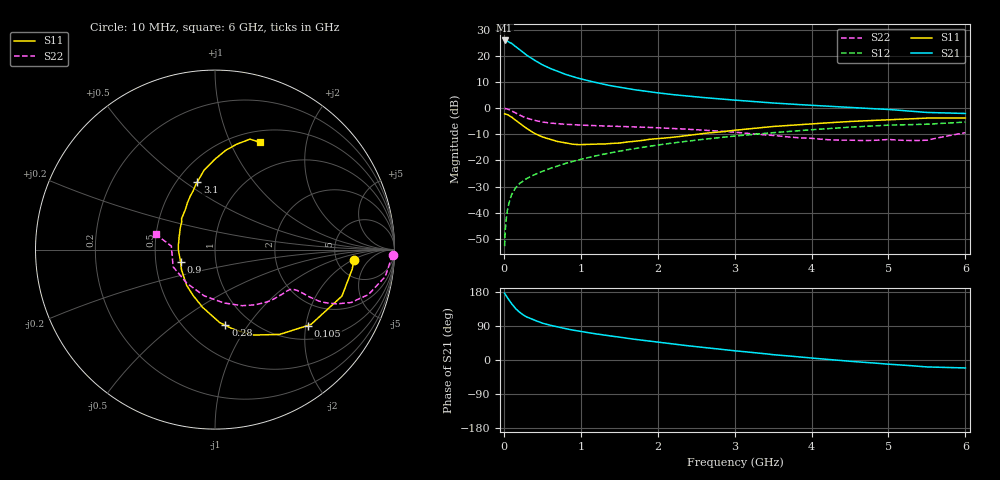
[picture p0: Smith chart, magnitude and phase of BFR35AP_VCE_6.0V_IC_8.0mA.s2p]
! Infineon Technologies  Discrete & RF Semiconductors
! BFR35AP
! VCE =  6.0 V,  IC =  8.0 mA
! Common Emitter S-Parameters:  Nov 2015
# GHz  S  MA  R  50
!  f  S11  S21  S12  S22
! GHz  MAG  ANG  MAG  ANG  MAG  ANG  MAG  ANG
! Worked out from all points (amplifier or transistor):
!   210 points, 10 MHz to 6 GHz, reference 50 ohm
!   highest |S21| = 25.9 dB at 10 MHz (marker M1)
!   |S21| within 3 dB of that: start of sweep to 182.7 MHz
!   unconditionally stable (mu >= 1): 681.6 MHz to 3.001 GHz
!   at 185 MHz: K = 0.48, MSG = 26.1 dB, |S12| = -29.4 dB
!   at 1.52 GHz: K = 1.10, MAG = 10.2 dB, |S12| = -16.4 dB
!   at 6 GHz: K = 0.91, MSG = 1.6 dB, |S12| = -5.3 dB
!   S11 on the Smith chart (normalised r, x): 10 MHz: 7.35, -2.05; 105 MHz: 1.34, -2.05; 280 MHz: 0.77, -0.79; 900 MHz: 0.67, -0.10; 3.1 GHz: 0.63, +0.56; 6 GHz: 0.63, +1.30
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0.01  0.776 -4.1  19.66 176.2  0.0023 87.7  0.9898 -1.7
0.025  0.7669 -10.0  19.23 171.1  0.0061 82.5  0.9758 -4.6
0.05  0.7533 -20.1  18.95 163.2  0.012 80.4  0.9603 -9.0
0.1  0.678 -38.0  17.34 148.6  0.0219 72.2  0.891 -16.3
0.105  0.6678 -39.3  17.09 147.5  0.0227 71.5  0.8831 -16.8
0.15  0.594 -52.7  15.15 136.1  0.0296 66.6  0.8144 -21.2
0.2  0.5215 -66.0  13.33 126.7  0.0358 64.0  0.7442 -24.0
0.24  0.4692 -74.3  11.95 120.7  0.0395 62.4  0.6965 -25.3
0.28  0.4258 -82.2  10.77 115.8  0.0434 61.5  0.6594 -26.1
0.3  0.4069 -86.4  10.22 113.3  0.0454 61.2  0.6426 -26.4
0.4  0.329 -102.1  8.208 104.6  0.0536 61.4  0.5828 -26.6
0.5  0.2827 -115.7  6.751 97.3  0.0618 62.0  0.5425 -26.4
0.6  0.2544 -128.3  5.761 91.8  0.0703 62.6  0.5191 -26.4
0.7  0.2303 -139.1  5.02 87.0  0.0786 63.0  0.5042 -26.5
0.9  0.2041 -159.6  3.977 78.8  0.0962 63.4  0.4818 -27.4
1.02  0.2012 -171.4  3.564 74.8  0.1066 63.7  0.4725 -28.2
1.4  0.2118 161.3  2.664 63.1  0.1407 62.5  0.4529 -32.5
2.02  0.2627 132.3  1.945 46.6  0.199 58.3  0.4204 -42.2
3.1  0.3904 104.5  1.387 22.5  0.3018 47.4  0.3361 -67.0
4.1  0.512 88.9  1.111 3.4  0.3951 35.6  0.2563 -108.1
5.1  0.6072 77.2  0.919 -12.3  0.4767 21.8  0.2462 -162.7
6  0.6481 67.2  0.791 -21.0  0.5412 11.3  0.3393 165.6
